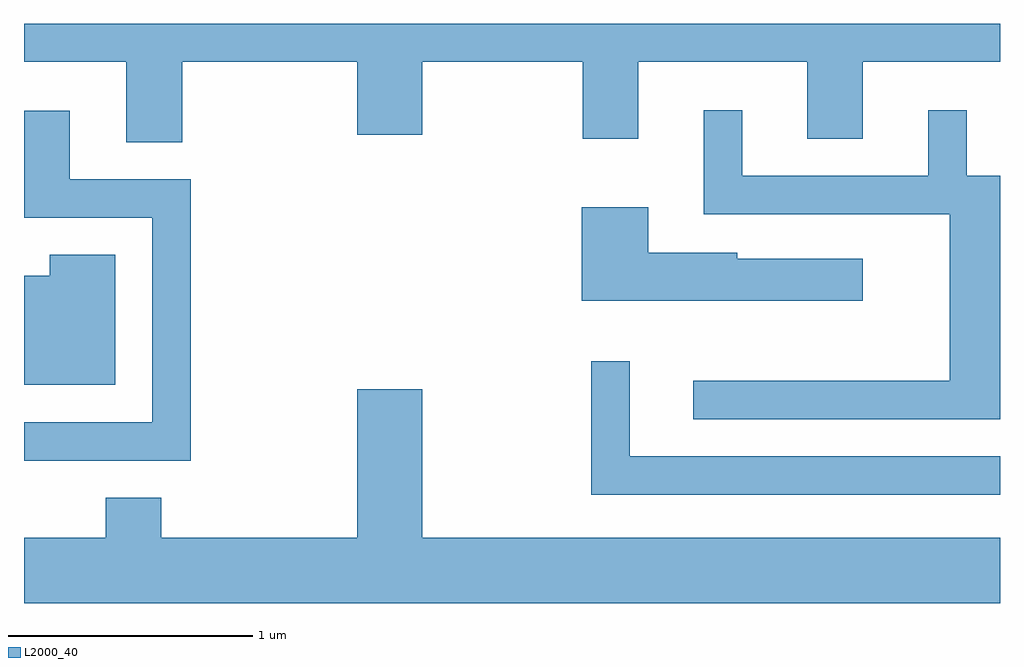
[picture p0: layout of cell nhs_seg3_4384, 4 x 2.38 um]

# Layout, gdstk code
import gdstk
lib = gdstk.Library(unit=1e-6, precision=1e-09)
def P(c, l, *ps):  # polygons
    for p in ps: c.add(gdstk.Polygon(p, *l))
L2000_40 = (2000, 40)

nhs_seg3_4384 = lib.new_cell('nhs_seg3_4384')
P(nhs_seg3_4384, L2000_40, [(314.259,1183.736),(314.976,1183.736),(314.976,1183.436),(315.244,1183.436),(315.244,1183.736),(315.901,1183.736),(315.901,1183.421),(316.129,1183.421),(316.129,1183.736),(316.821,1183.736),(316.821,1183.421),(317.049,1183.421),(317.049,1183.736),(317.611,1183.736),(317.611,1183.892),(313.611,1183.892),(313.611,1183.736),(314.031,1183.736),(314.031,1183.406),(314.259,1183.406)],
  [(317.611,1183.269),(317.474,1183.269),(317.474,1183.538),(317.316,1183.538),(317.316,1183.269),(316.554,1183.269),(316.554,1183.538),(316.396,1183.538),(316.396,1183.111),(317.406,1183.111),(317.406,1182.429),(316.353,1182.429),(316.353,1182.271),(317.611,1182.271)],
  [(314.294,1183.254),(313.799,1183.254),(313.799,1183.534),(313.611,1183.534),(313.611,1183.096),(314.136,1183.096),(314.136,1182.259),(313.611,1182.259),(313.611,1182.101),(314.294,1182.101)],
  [(317.049,1182.929),(316.534,1182.929),(316.534,1182.954),(316.169,1182.954),(316.169,1183.139),(315.896,1183.139),(315.896,1182.756),(317.049,1182.756)],
  [(313.984,1182.944),(313.716,1182.944),(313.716,1182.859),(313.611,1182.859),(313.611,1182.411),(313.984,1182.411)],
  [(317.611,1182.119),(316.094,1182.119),(316.094,1182.508),(315.936,1182.508),(315.936,1181.961),(317.611,1181.961)],
  [(317.611,1181.784),(315.244,1181.784),(315.244,1182.394),(314.976,1182.394),(314.976,1181.784),(314.174,1181.784),(314.174,1181.949),(313.946,1181.949),(313.946,1181.784),(313.611,1181.784),(313.611,1181.516),(317.611,1181.516)])

lib.write_gds('nhs_seg3_4384.gds')
